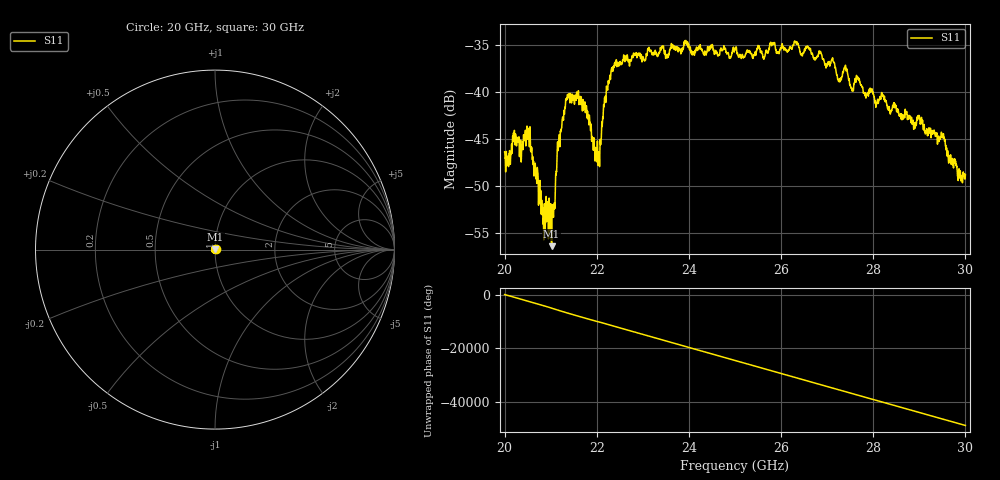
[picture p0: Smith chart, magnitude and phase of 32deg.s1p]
#  HZ  S  RI  R  50.00
! Rohde & Schwarz ZVA40 4Ports - Version 3.90 - 1145.1110k42 SN: 100403
! Date: 2023-10-03 12:50:17
! Measurement: S12
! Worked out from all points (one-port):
!   5001 points, 20 GHz to 30 GHz, reference 50 ohm
!   lowest |S11| = -56.4 dB at 21.02 GHz (marker M1), VSWR 1.00, Z = 50.1 + j0.0794 ohm
!   |S11| at or under -10 dB: start of sweep to end of sweep
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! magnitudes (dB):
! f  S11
! 20 GHz  -46.4
! 20.22 GHz  -44.9
! 20.35 GHz  -46.2
! 20.51 GHz  -43.9
! 20.84 GHz  -53.5
! 21.02 GHz  -56.4
! 21.06 GHz  -53.3
! 21.15 GHz  -45.3
! 21.25 GHz  -42.9
! 21.36 GHz  -40.3
! 21.61 GHz  -41.3
! 21.81 GHz  -42.9
! 22.01 GHz  -45.2
! 22.26 GHz  -39.0
! 22.5 GHz  -36.9
! 23.75 GHz  -35.3
! 25 GHz  -35.5
! 26.25 GHz  -35.1
! 27.12 GHz  -36.4
! 27.26 GHz  -38.6
! 27.4 GHz  -37.3
! 27.5 GHz  -39.2
! 27.66 GHz  -38.4
! 27.83 GHz  -40.1
! 28.75 GHz  -42.5
! 29.51 GHz  -44.7
! 29.65 GHz  -46.8
! 30 GHz  -48.8
